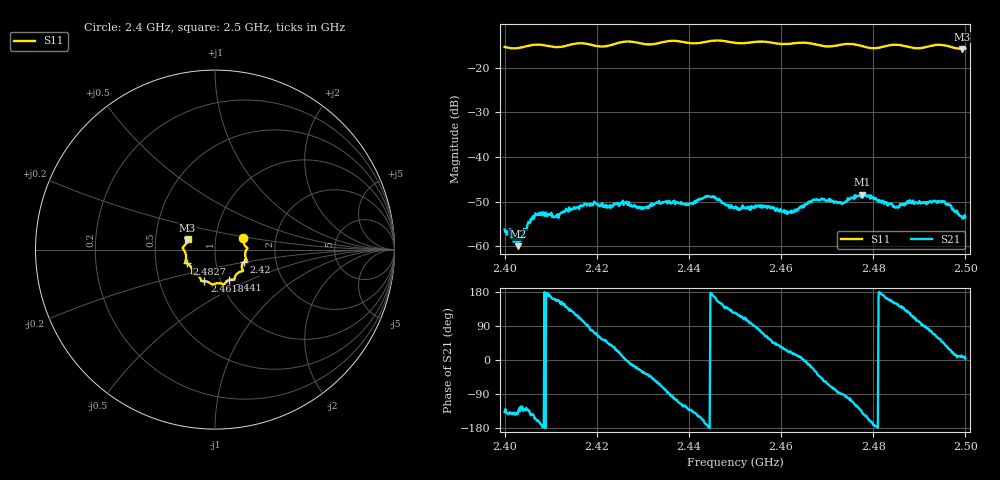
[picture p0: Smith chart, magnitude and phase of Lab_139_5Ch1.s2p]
# Hz S RI R 50
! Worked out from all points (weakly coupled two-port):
!   601 points, 2.4 GHz to 2.5 GHz, reference 50 ohm
!   highest |S21| = -48.43 dB at 2.4777 GHz (marker M1); lowest = -60.0 dB at 2.4028 GHz (marker M2)
!   lowest |S11| = -15.8 dB at 2.4993 GHz (marker M3), VSWR 1.39, Z = 36.5 + j3.84 ohm
!   |S11| at or under -10 dB: start of sweep to end of sweep
!   S12 and S22 are empty: the file has one direction only
!   S11 on the Smith chart (normalised r, x): 2.4 GHz: 1.36, +0.18; 2.42 GHz: 1.36, -0.20; 2.441 GHz: 1.10, -0.39; 2.4618 GHz: 0.84, -0.30; 2.4827 GHz: 0.72, -0.12; 2.5 GHz: 0.73, +0.09
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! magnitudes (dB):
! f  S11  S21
! 2.4 GHz  -15.4  -56.2
! 2.4028 GHz  -15.6  -60.0
! 2.407 GHz  -14.8  -52.8
! 2.4112 GHz  -15.4  -53.4
! 2.4167 GHz  -14.5  -50.8
! 2.42 GHz  -15.2  -50.6
! 2.426 GHz  -14.2  -50.3
! 2.43 GHz  -14.7  -51.6
! 2.4333 GHz  -14.5  -50.4
! 2.441 GHz  -14.6  -50.5
! 2.4448 GHz  -14.0  -49.0
! 2.45 GHz  -14.4  -51.5
! 2.4562 GHz  -14.2  -50.9
! 2.4618 GHz  -14.6  -52.3
! 2.4667 GHz  -14.6  -50.1
! 2.4733 GHz  -14.8  -50.3
! 2.4777 GHz  -15.2  -48.4
! 2.4827 GHz  -15.2  -50.3
! 2.4833 GHz  -15.0  -50.4
! 2.495 GHz  -14.9  -50.1
! 2.4993 GHz  -15.8  -53.8
! 2.5 GHz  -15.7  -53.5
